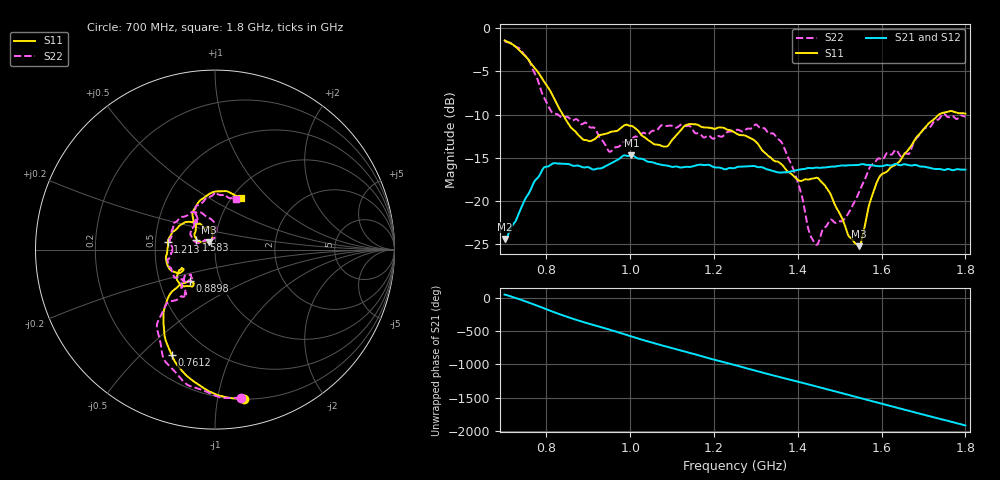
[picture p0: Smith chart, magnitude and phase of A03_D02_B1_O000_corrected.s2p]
! Created with skrf 1.9.0 (http://scikit-rf.org).
# Hz S RI R 50.0
!freq ReS11 ImS11 ReS21 ImS21 ReS12 ImS12 ReS22 ImS22
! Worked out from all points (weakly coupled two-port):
!   1601 points, 700 MHz to 1.8 GHz, reference 50 ohm
!   highest |S21| = -14.70 dB at 1.002 GHz (marker M1); lowest = -24.4 dB at 700.7 MHz (marker M2)
!   lowest |S11| = -25.2 dB at 1.546 GHz (marker M3), VSWR 1.12, Z = 46.4 + j3.87 ohm
!   |S11| at or under -10 dB: 838.8 MHz to 1.737 GHz (897.8 MHz wide, 69.7 % of centre)
!   |S22| runs from -25.1 to -1.5 dB; largest |S21 - S12| = 0.0035
!   S11 on the Smith chart (normalised r, x): 700 MHz: 0.20, -1.19; 761.2 MHz: 0.32, -0.62; 889.8 MHz: 0.71, -0.27; 1.213 GHz: 0.58, +0.05; 1.583 GHz: 0.81, +0.09; 1.8 GHz: 1.11, +0.70
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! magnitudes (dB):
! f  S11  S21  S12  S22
! 700 MHz  -1.4  -24.4  -24.2  -1.5
! 700.7 MHz  -1.4  -24.4  -24.1  -1.5
! 761.2 MHz  -3.9  -18.8  -18.7  -4.0
! 812.8 MHz  -7.6  -15.7  -15.7  -9.7
! 883.6 MHz  -12.7  -16.1  -15.9  -11.1
! 889.8 MHz  -12.9  -16.1  -16.1  -11.0
! 950.9 MHz  -12.0  -15.7  -15.7  -14.3
! 1.002 GHz  -11.3  -14.7  -14.8  -13.0
! 1.067 GHz  -13.5  -15.7  -15.7  -11.6
! 1.137 GHz  -11.1  -16.0  -16.0  -11.3
! 1.213 GHz  -11.5  -16.1  -16.1  -12.5
! 1.25 GHz  -12.1  -16.2  -16.1  -11.8
! 1.361 GHz  -15.7  -16.7  -16.7  -13.2
! 1.401 GHz  -17.6  -16.4  -16.4  -18.0
! 1.434 GHz  -17.4  -16.2  -16.2  -24.3
! 1.51 GHz  -22.5  -15.9  -15.9  -22.1
! 1.546 GHz  -25.2  -15.8  -15.8  -19.0
! 1.583 GHz  -18.6  -15.9  -15.9  -15.6
! 1.617 GHz  -16.4  -15.9  -15.8  -14.5
! 1.664 GHz  -14.1  -15.8  -15.8  -14.6
! 1.736 GHz  -10.0  -16.3  -16.3  -10.5
! 1.8 GHz  -9.9  -16.4  -16.4  -10.3
